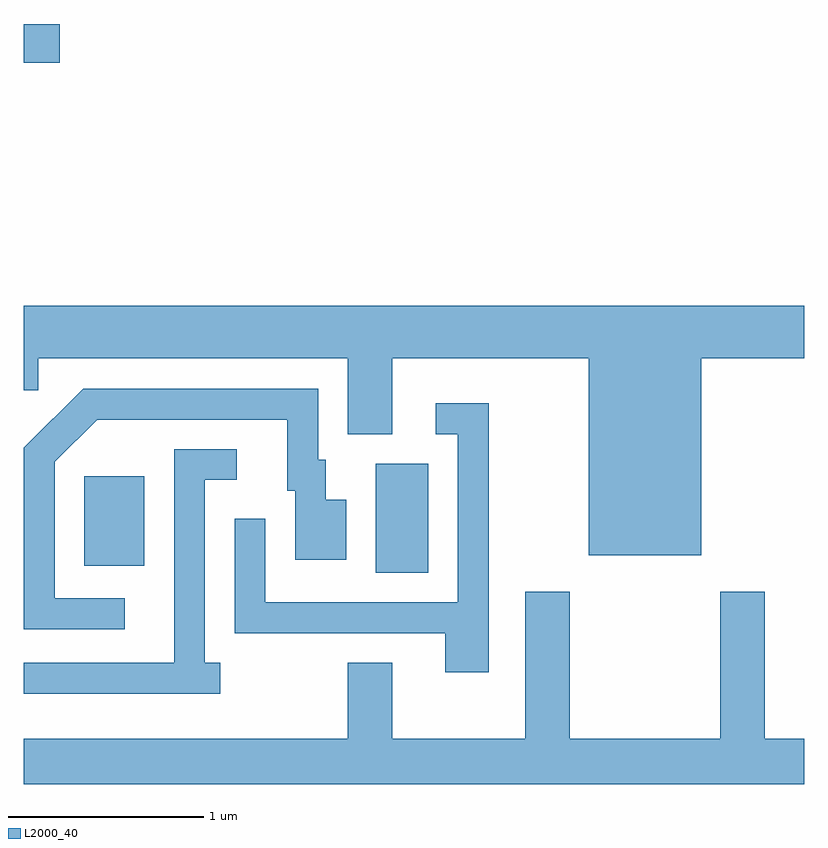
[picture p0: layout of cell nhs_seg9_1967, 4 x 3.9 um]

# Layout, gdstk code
import gdstk
lib = gdstk.Library(unit=1e-6, precision=1e-09)
def R(c, l, rs):  # rectangles x0, y0, x1, y1
    for r in rs: c.add(gdstk.rectangle(r[:2], r[2:], *l))
def P(c, l, *ps):  # polygons
    for p in ps: c.add(gdstk.Polygon(p, *l))
L2000_40 = (2000, 40)

nhs_seg9_1967 = lib.new_cell('nhs_seg9_1967')
R(nhs_seg9_1967, L2000_40, [(243.416,2079.516,243.684,2080.074), (241.921,2079.551,242.229,2080.009), (241.611,2082.131,241.794,2082.329)])
P(nhs_seg9_1967, L2000_40, [(245.084,2080.616),(245.611,2080.616),(245.611,2080.884),(241.611,2080.884),(241.611,2080.451),(241.684,2080.451),(241.684,2080.616),(243.271,2080.616),(243.271,2080.226),(243.499,2080.226),(243.499,2080.616),(244.506,2080.616),(244.506,2079.606),(245.084,2079.606)],
  [(242.128,2079.384),(241.769,2079.384),(241.769,2080.084),(241.987,2080.301),(242.961,2080.301),(242.961,2079.936),(243.001,2079.936),(243.001,2079.581),(243.264,2079.581),(243.264,2079.889),(243.159,2079.889),(243.159,2080.094),(243.119,2080.094),(243.119,2080.459),(241.914,2080.459),(241.611,2080.157),(241.611,2079.226),(242.128,2079.226)],
  [(243.994,2080.384),(243.723,2080.384),(243.723,2080.226),(243.836,2080.226),(243.836,2079.364),(242.849,2079.364),(242.849,2079.793),(242.691,2079.793),(242.691,2079.206),(243.771,2079.206),(243.771,2079.006),(243.994,2079.006)],
  [(242.618,2079.054),(242.539,2079.054),(242.539,2079.991),(242.703,2079.991),(242.703,2080.149),(242.381,2080.149),(242.381,2079.054),(241.611,2079.054),(241.611,2078.896),(242.618,2078.896)],
  [(245.611,2078.664),(245.409,2078.664),(245.409,2079.419),(245.181,2079.419),(245.181,2078.664),(244.409,2078.664),(244.409,2079.419),(244.181,2079.419),(244.181,2078.664),(243.499,2078.664),(243.499,2079.054),(243.271,2079.054),(243.271,2078.664),(241.611,2078.664),(241.611,2078.432),(245.611,2078.432)])

lib.write_gds('nhs_seg9_1967.gds')
